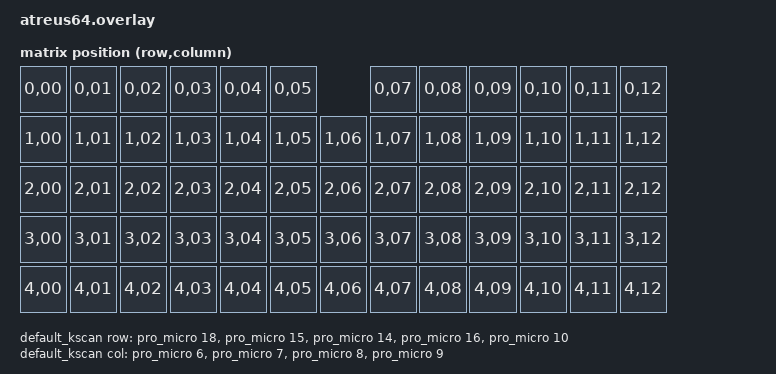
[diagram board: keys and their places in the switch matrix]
#include <dt-bindings/zmk/matrix_transform.h>

/ {
    chosen {
        zmk,kscan = &default_kscan;
        zmk,matrix_transform = &default_transform;
    };

    default_kscan: kscan {
        compatible = "zmk,kscan-gpio-matrix";
        label = "default_kscan";
        diode-direction = "col2row";

        row-gpios = <&pro_micro 18 GPIO_ACTIVE_HIGH>,
                    <&pro_micro 15 (GPIO_ACTIVE_HIGH | GPIO_PULL_DOWN)>,
                    <&pro_micro 14 (GPIO_ACTIVE_HIGH | GPIO_PULL_DOWN)>,
                    <&pro_micro 16 (GPIO_ACTIVE_HIGH | GPIO_PULL_DOWN)>,
                    <&pro_micro 10 GPIO_ACTIVE_HIGH>;
        
        col-gpios = <&pro_micro 6 GPIO_ACTIVE_HIGH>,
                    <&pro_micro 7 GPIO_ACTIVE_HIGH>,
                    <&pro_micro 8 GPIO_ACTIVE_HIGH>,
                    <&pro_micro 9 GPIO_ACTIVE_HIGH>;
    };

    default_transform: matrix_transform{
        compatible = "zmk,matrix-transform";
        rows = <5>;
        columns = <13>;

        map = <
            RC(0,00) RC(0,01) RC(0,02) RC(0,03) RC(0,04) RC(0,05)          RC(0,07) RC(0,08) RC(0,09) RC(0,10) RC(0,11) RC(0,12)
            RC(1,00) RC(1,01) RC(1,02) RC(1,03) RC(1,04) RC(1,05) RC(1,06) RC(1,07) RC(1,08) RC(1,09) RC(1,10) RC(1,11) RC(1,12)
            RC(2,00) RC(2,01) RC(2,02) RC(2,03) RC(2,04) RC(2,05) RC(2,06) RC(2,07) RC(2,08) RC(2,09) RC(2,10) RC(2,11) RC(2,12)
            RC(3,00) RC(3,01) RC(3,02) RC(3,03) RC(3,04) RC(3,05) RC(3,06) RC(3,07) RC(3,08) RC(3,09) RC(3,10) RC(3,11) RC(3,12)
            RC(4,00) RC(4,01) RC(4,02) RC(4,03) RC(4,04) RC(4,05) RC(4,06) RC(4,07) RC(4,08) RC(4,09) RC(4,10) RC(4,11) RC(4,12)
        >;
    };
};
